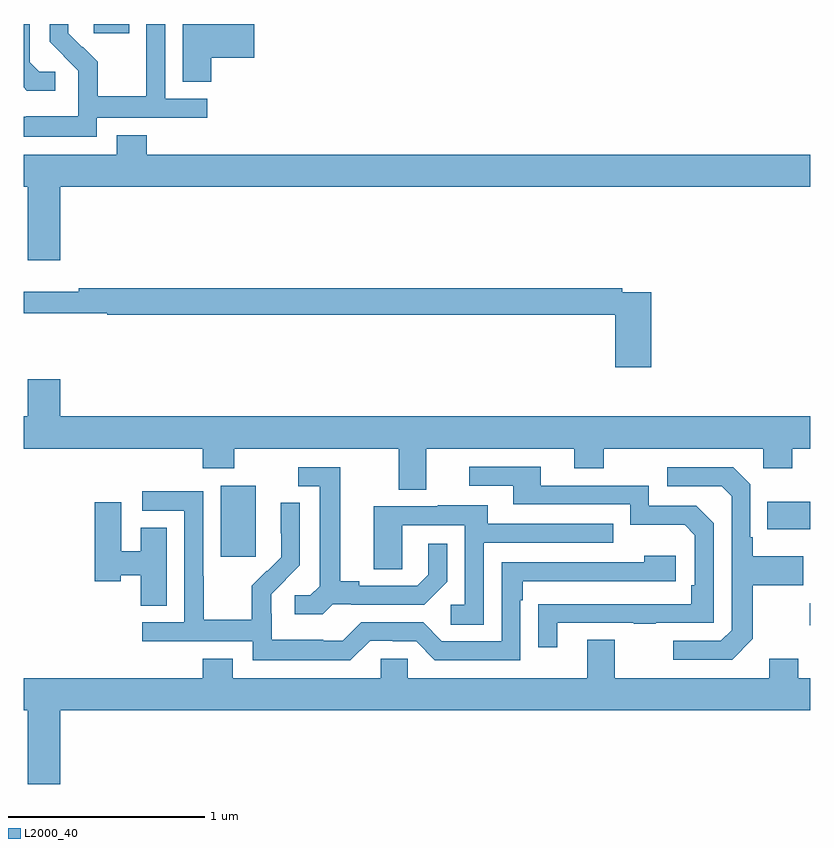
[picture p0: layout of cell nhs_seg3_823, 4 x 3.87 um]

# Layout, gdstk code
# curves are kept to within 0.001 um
import gdstk
lib = gdstk.Library(unit=1e-6, precision=1e-09)
def R(c, l, rs):  # rectangles x0, y0, x1, y1
    for r in rs: c.add(gdstk.rectangle(r[:2], r[2:], *l))
def P(c, l, *ps):  # polygons
    for p in ps: c.add(gdstk.Polygon(p, *l))
L2000_40 = (2000, 40)

nhs_seg3_823 = lib.new_cell('nhs_seg3_823')
R(nhs_seg3_823, L2000_40, [(156.999,709.341,157,709.454), (154.001,709.689,154.18,710.05), (156.781,709.829,157,709.969), (153.356,712.353,153.535,712.4)])
P(nhs_seg3_823, L2000_40, [(153.372,711.924),(153.934,711.924),(153.934,712.02),(153.72,712.02),(153.72,712.4),(153.624,712.4),(153.624,712.256),(153.622,712.256),(153.622,712.033),(153.377,712.033),(153.377,712.207),(153.3,712.284),(153.297,712.281),(153.227,712.352),(153.227,712.4),(153.132,712.4),(153.132,712.31),(153.278,712.162),(153.278,712.065),(153.276,712.065),(153.276,711.931),(153.013,711.931),(153.013,711.927),(153,711.927),(153,711.827),(153.372,711.827)],
  [(153.16,712.158),(153.078,712.158),(153.031,712.205),(153.031,712.4),(153,712.4),(153,712.077),(153.016,712.061),(153.16,712.061)],
  [(153.953,712.229),(154.171,712.229),(154.171,712.4),(153.809,712.4),(153.809,712.105),(153.953,712.105)],
  [(153.184,711.572),(157,711.572),(157,711.736),(153.626,711.736),(153.626,711.835),(153.473,711.835),(153.473,711.736),(153,711.736),(153,711.572),(153.02,711.572),(153.02,711.198),(153.184,711.198)],
  [(156.191,711.036),(156.044,711.036),(156.044,711.056),(153.28,711.056),(153.28,711.037),(153,711.037),(153,710.928),(153.424,710.928),(153.424,710.92),(156.008,710.92),(156.008,710.655),(156.191,710.655)],
  [(155.047,710.24),(155.801,710.24),(155.801,710.141),(155.949,710.141),(155.949,710.24),(156.762,710.24),(156.762,710.141),(156.909,710.141),(156.909,710.24),(157,710.24),(157,710.404),(153.184,710.404),(153.184,710.593),(153.02,710.593),(153.02,710.404),(153,710.404),(153,710.24),(153.911,710.24),(153.911,710.141),(154.071,710.141),(154.071,710.24),(154.907,710.24),(154.907,710.032),(155.047,710.032)],
  [(155.713,709.353),(156.103,709.353),(156.103,709.348),(156.215,709.348),(156.215,709.353),(156.51,709.353),(156.51,709.86),(156.42,709.95),(156.18,709.95),(156.18,710.052),(155.629,710.052),(155.629,710.148),(155.265,710.148),(155.265,710.052),(155.489,710.052),(155.489,709.956),(156.084,709.956),(156.084,709.853),(156.361,709.853),(156.414,709.8),(156.414,709.546),(156.394,709.546),(156.394,709.449),(155.617,709.448),(155.617,709.23),(155.713,709.23)],
  [(156.709,709.273),(156.709,709.546),(156.965,709.546),(156.965,709.693),(156.709,709.693),(156.709,709.789),(156.696,709.789),(156.696,710.058),(156.609,710.145),(156.273,710.145),(156.273,710.049),(156.549,710.049),(156.6,709.998),(156.6,709.317),(156.546,709.263),(156.303,709.263),(156.303,709.167),(156.603,709.167)],
  [(154.572,709.449),(154.666,709.449),(154.666,709.446),(155.038,709.446),(155.154,709.562),(155.154,709.756),(155.057,709.756),(155.057,709.599),(155,709.542),(154.705,709.542),(154.705,709.565),(154.609,709.565),(154.609,710.145),(154.395,710.145),(154.395,710.049),(154.505,710.049),(154.505,709.541),(154.458,709.494),(154.377,709.494),(154.377,709.397),(154.52,709.397)],
  [(154.761,709.263),(154.877,709.263),(154.877,709.26),(154.995,709.26),(155.091,709.164),(155.526,709.164),(155.526,709.469),(155.539,709.469),(155.539,709.566),(156.316,709.566),(156.316,709.696),(156.155,709.696),(156.155,709.662),(155.43,709.662),(155.43,709.26),(155.127,709.26),(155.031,709.356),(154.716,709.356),(154.623,709.263),(154.523,709.263),(154.523,709.267),(154.26,709.267),(154.26,709.401),(154.258,709.401),(154.258,709.498),(154.404,709.646),(154.404,709.964),(154.308,709.964),(154.308,709.81),(154.31,709.81),(154.31,709.688),(154.239,709.617),(154.236,709.62),(154.159,709.543),(154.159,709.369),(153.915,709.369),(153.915,709.592),(153.912,709.592),(153.912,710.022),(153.603,710.022),(153.603,709.923),(153.816,709.923),(153.816,709.356),(153.603,709.356),(153.603,709.26),(154.164,709.26),(154.164,709.163),(154.661,709.163)],
  [(153.727,709.838),(153.596,709.838),(153.596,709.717),(153.496,709.717),(153.496,709.966),(153.362,709.966),(153.362,709.565),(153.492,709.565),(153.492,709.595),(153.596,709.595),(153.596,709.441),(153.727,709.441)],
  [(155.34,709.761),(155.999,709.761),(155.999,709.857),(155.359,709.857),(155.359,709.951),(155.105,709.951),(155.105,709.947),(154.781,709.947),(154.781,709.627),(154.926,709.627),(154.926,709.851),(155.244,709.851),(155.244,709.446),(155.172,709.446),(155.172,709.345),(155.34,709.345)],
  [(157,709.072),(156.939,709.072),(156.939,709.171),(156.791,709.171),(156.791,709.072),(156.007,709.072),(156.007,709.267),(155.867,709.267),(155.867,709.072),(154.953,709.072),(154.953,709.17),(154.815,709.17),(154.815,709.072),(154.063,709.072),(154.063,709.171),(153.911,709.171),(153.911,709.072),(153,709.072),(153,708.908),(153.02,708.908),(153.02,708.534),(153.184,708.534),(153.184,708.908),(157,708.908)])

lib.write_gds('nhs_seg3_823.gds')
